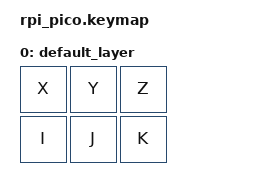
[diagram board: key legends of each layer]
/*
 * Copyright (c) 2022 The ZMK Contributors
 *
 * SPDX-License-Identifier: MIT
 */

#include <behaviors.dtsi>
#include <dt-bindings/zmk/keys.h>


/ {

    keymap {
        compatible = "zmk,keymap";

        default_layer {
            bindings = <
                &kp X   &kp Y   &kp Z
                &kp I   &kp J   &kp K
            >;
        };
    };
};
